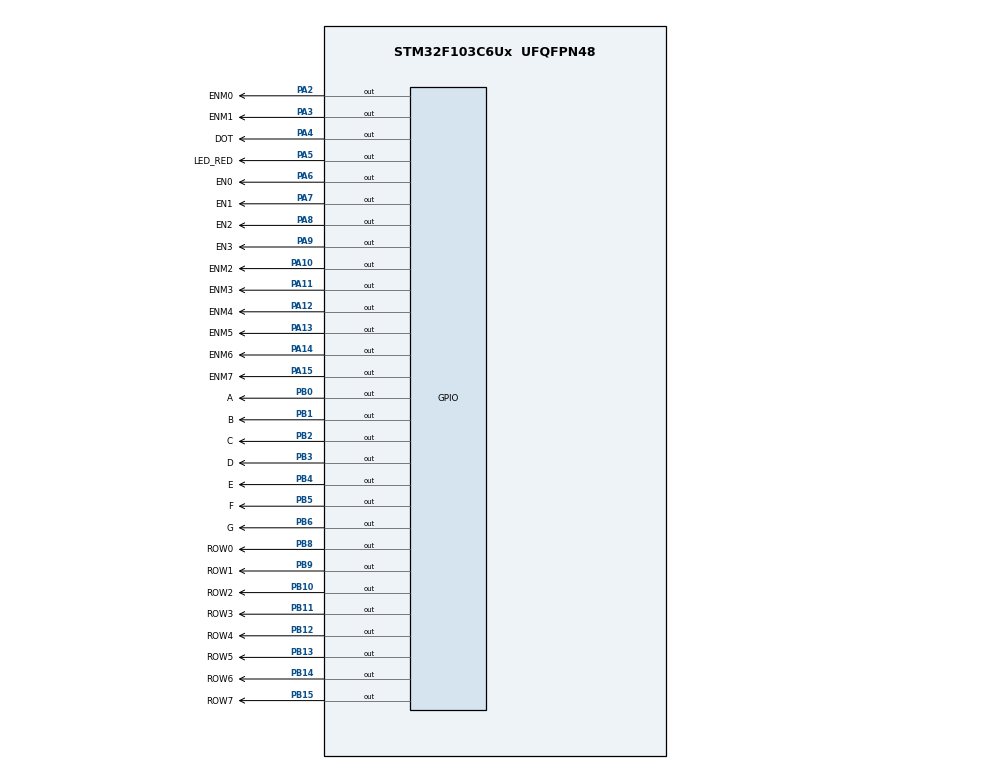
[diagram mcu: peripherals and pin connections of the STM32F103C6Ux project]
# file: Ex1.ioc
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Mcu.Family=STM32F1
Mcu.Name=STM32F103C6Ux
Mcu.Package=UFQFPN48
NVIC.PriorityGroup=NVIC_PRIORITYGROUP_4
NVIC.TIM2_IRQn=true\:0\:0\:false\:false\:true\:true\:true
PA10.GPIO_Label=ENM2
PA10.Signal=GPIO_Output
PA11.GPIO_Label=ENM3
PA11.Signal=GPIO_Output
PA12.GPIO_Label=ENM4
PA12.Signal=GPIO_Output
PA13.GPIO_Label=ENM5
PA13.Signal=GPIO_Output
PA14.GPIO_Label=ENM6
PA14.Signal=GPIO_Output
PA15.GPIO_Label=ENM7
PA15.Signal=GPIO_Output
PA2.GPIO_Label=ENM0
PA2.Signal=GPIO_Output
PA3.GPIO_Label=ENM1
PA3.Signal=GPIO_Output
PA4.GPIO_Label=DOT
PA4.Signal=GPIO_Output
PA5.GPIO_Label=LED_RED
PA5.Signal=GPIO_Output
PA6.GPIO_Label=EN0
PA6.Signal=GPIO_Output
PA7.GPIO_Label=EN1
PA7.Signal=GPIO_Output
PA8.GPIO_Label=EN2
PA8.Signal=GPIO_Output
PA9.GPIO_Label=EN3
PA9.Signal=GPIO_Output
PB0.GPIO_Label=A
PB0.Signal=GPIO_Output
PB1.GPIO_Label=B
PB1.Signal=GPIO_Output
PB10.GPIO_Label=ROW2
PB10.Signal=GPIO_Output
PB11.GPIO_Label=ROW3
PB11.Signal=GPIO_Output
PB12.GPIO_Label=ROW4
PB12.Signal=GPIO_Output
PB13.GPIO_Label=ROW5
PB13.Signal=GPIO_Output
PB14.GPIO_Label=ROW6
PB14.Signal=GPIO_Output
PB15.GPIO_Label=ROW7
PB15.Signal=GPIO_Output
PB2.GPIO_Label=C
PB2.Signal=GPIO_Output
PB3.GPIO_Label=D
PB3.Signal=GPIO_Output
PB4.GPIO_Label=E
PB4.Signal=GPIO_Output
PB5.GPIO_Label=F
PB5.Signal=GPIO_Output
PB6.GPIO_Label=G
PB6.Signal=GPIO_Output
PB8.GPIO_Label=ROW0
PB8.Signal=GPIO_Output
PB9.GPIO_Label=ROW1
PB9.Signal=GPIO_Output
ProjectManager.HeapSize=0x200
ProjectManager.StackSize=0x400
ProjectManager.TargetToolchain=STM32CubeIDE
RCC.APB1Freq_Value=8000000
RCC.APB2Freq_Value=8000000
TIM2.Period=10
TIM2.Prescaler=7999
VP_SYS_VS_ND.Mode=No_Debug
VP_TIM2_VS_ClockSourceINT.Mode=Internal
board=custom

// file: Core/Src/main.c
/* USER CODE BEGIN Header */
/**
  ******************************************************************************
  * @file           : main.c
  * @brief          : Main program body
  ******************************************************************************
  * @attention
  *
  * <h2><center>&copy; Copyright (c) 2022 STMicroelectronics.
  * All rights reserved.</center></h2>
  *
  * This software component is licensed by ST under BSD 3-Clause license,
  * the "License"; You may not use this file except in compliance with the
  * License. You may obtain a copy of the License at:
  *                        opensource.org/licenses/BSD-3-Clause
  *
  ******************************************************************************
  */
/* USER CODE END Header */
#include "main.h"

/* USER CODE BEGIN Includes */
#include "software_timer.h"
/* USER CODE END Includes */

TIM_HandleTypeDef htim2;

void SystemClock_Config(void);
static void MX_GPIO_Init(void);
static void MX_TIM2_Init(void);

/* USER CODE BEGIN 0 */
const int MAX_LED = 4;
int index_led = 0;
int led_buffer[4] = {1 ,2, 3, 4};
int hour = 15, minute = 8, second = 50;
const int MAX_LED_MATRIX = 8;
int index_led_matrix = 0;
uint8_t matrix_buffer[8] = {0x01, 0x02, 0x03, 0x04, 0x05, 0x06, 0x07, 0x08};
/* Function get buffer to GPIO */
void getBuffer(uint8_t config)
{
	HAL_GPIO_WritePin(GPIOB, ROW0_Pin, !(config&1));
	config = config >> 1;
	HAL_GPIO_WritePin(GPIOB, ROW1_Pin, !(config&1));
	config = config >> 1;
	HAL_GPIO_WritePin(GPIOB, ROW2_Pin, !(config&1));
	config = config >> 1;
	HAL_GPIO_WritePin(GPIOB, ROW3_Pin, !(config&1));
	config = config >> 1;
	HAL_GPIO_WritePin(GPIOB, ROW4_Pin, !(config&1));
	config = config >> 1;
	HAL_GPIO_WritePin(GPIOB, ROW5_Pin, !(config&1));
	config = config >> 1;
	HAL_GPIO_WritePin(GPIOB, ROW6_Pin, !(config&1));
	config = config >> 1;
	HAL_GPIO_WritePin(GPIOB, ROW7_Pin, !(config&1));
}

void updateLEDMatrix(int index)
{
  switch(index)
  {
  case 0:
	getBuffer(matrix_buffer[0]);
	break;
  case 1:
  getBuffer(matrix_buffer[1]);
	break;
  case 2:
	  getBuffer(matrix_buffer[2]);
	break;
  case 3:
	  getBuffer(matrix_buffer[3]);
	break;
  case 4:
	  getBuffer(matrix_buffer[4]);
	break;
  case 5:
	  getBuffer(matrix_buffer[5]);
	break;
  case 6:
	  getBuffer(matrix_buffer[6]);
	break;
  case 7:
	  getBuffer(matrix_buffer[7]);
	break;
  default:
	break;
  }
}
void clearENM()
{
  HAL_GPIO_WritePin(GPIOA, ENM0_Pin | ENM1_Pin | ENM2_Pin |
						   ENM3_Pin | ENM4_Pin | ENM5_Pin |
						   ENM6_Pin | ENM7_Pin, SET);
}
/* Fuction for open ENM GPIO */
void openENM(int index){
	switch(index) {
		case 0:
		  HAL_GPIO_WritePin(GPIOA, ENM0_Pin, RESET);
		  break;
		case 1:
		  HAL_GPIO_WritePin(GPIOA, ENM1_Pin, RESET);
		  break;
		case 2:
		  HAL_GPIO_WritePin(GPIOA, ENM2_Pin, RESET);
		  break;
		case 3:
		  HAL_GPIO_WritePin(GPIOA, ENM3_Pin, RESET);
		  break;
		case 4:
		  HAL_GPIO_WritePin(GPIOA, ENM4_Pin, RESET);
		  break;
		case 5:
		  HAL_GPIO_WritePin(GPIOA, ENM5_Pin, RESET);
		  break;
		case 6:
		  HAL_GPIO_WritePin(GPIOA, ENM6_Pin, RESET);
		  break;
		case 7:
		  HAL_GPIO_WritePin(GPIOA, ENM7_Pin, RESET);
		  break;
		default:
		  break;
	}
}

void display7SEG(int num){
	  HAL_GPIO_WritePin(GPIOB, A_Pin|B_Pin|C_Pin|D_Pin|E_Pin|F_Pin|G_Pin, SET);

	  switch (num) {
		case 0:
			HAL_GPIO_WritePin(GPIOB, A_Pin|B_Pin|C_Pin|D_Pin|E_Pin|F_Pin, RESET);
			break;
		case 1:
			HAL_GPIO_WritePin(GPIOB, B_Pin|C_Pin, RESET);
			break;
		case 2:
			HAL_GPIO_WritePin(GPIOB, A_Pin|B_Pin|D_Pin|E_Pin|G_Pin, RESET);
			break;
		case 3:
			HAL_GPIO_WritePin(GPIOB, A_Pin|B_Pin|C_Pin|D_Pin|G_Pin, RESET);
			break;
		case 4:
			HAL_GPIO_WritePin(GPIOB, B_Pin|C_Pin|F_Pin|G_Pin, RESET);
			break;
		case 5:
			HAL_GPIO_WritePin(GPIOB, A_Pin|C_Pin|D_Pin|F_Pin|G_Pin, RESET);
			break;
		case 6:
			HAL_GPIO_WritePin(GPIOB, A_Pin|C_Pin|D_Pin|E_Pin|F_Pin|G_Pin, RESET);
			break;
		case 7:
			HAL_GPIO_WritePin(GPIOB, A_Pin|B_Pin|C_Pin, RESET);
			break;
		case 8:
			HAL_GPIO_WritePin(GPIOB, A_Pin|B_Pin|C_Pin|D_Pin|E_Pin|F_Pin|G_Pin, RESET);
			break;
		case 9:
			HAL_GPIO_WritePin(GPIOB, A_Pin|B_Pin|C_Pin|D_Pin|F_Pin|G_Pin, RESET);
			break;
	 }
 }

void update7SEG(int index){
	switch(index){
	case 0:
		//Display the first 7SEG with led_buffer[0]
		HAL_GPIO_WritePin(EN0_GPIO_Port, EN0_Pin, RESET);
		HAL_GPIO_WritePin(EN1_GPIO_Port, EN1_Pin, SET);
		HAL_GPIO_WritePin(EN2_GPIO_Port, EN2_Pin, SET);
		HAL_GPIO_WritePin(EN3_GPIO_Port, EN3_Pin, SET);
		display7SEG(led_buffer[0]);
		break;
	case 1:
		//Display the second 7SEG with led_buffer[1]
		HAL_GPIO_WritePin(EN0_GPIO_Port, EN0_Pin, SET);
		HAL_GPIO_WritePin(EN1_GPIO_Port, EN1_Pin, RESET);
		HAL_GPIO_WritePin(EN2_GPIO_Port, EN2_Pin, SET);
		HAL_GPIO_WritePin(EN3_GPIO_Port, EN3_Pin, SET);
		display7SEG(led_buffer[1]);
		break;
	case 2:
		//Display the third 7SEG with led_buffer[2]
		HAL_GPIO_WritePin(EN0_GPIO_Port, EN0_Pin, SET);
		HAL_GPIO_WritePin(EN1_GPIO_Port, EN1_Pin, SET);
		HAL_GPIO_WritePin(EN2_GPIO_Port, EN2_Pin, RESET);
		HAL_GPIO_WritePin(EN3_GPIO_Port, EN3_Pin, SET);
		display7SEG(led_buffer[2]);
		break;
	case 3:
		//Display the fourth 7SEG with led_buffer[3]
		HAL_GPIO_WritePin(EN0_GPIO_Port, EN0_Pin, SET);
		HAL_GPIO_WritePin(EN1_GPIO_Port, EN1_Pin, SET);
		HAL_GPIO_WritePin(EN2_GPIO_Port, EN2_Pin, SET);
		HAL_GPIO_WritePin(EN3_GPIO_Port, EN3_Pin, RESET);
		display7SEG(led_buffer[3]);
		break;
	default:
		break;
	}
}

void updateClockBuffer(){
	led_buffer[0] = hour/10;
	led_buffer[1] = hour%10;
	led_buffer[2] = minute/10;
	led_buffer[3] = minute%10;
}

/* USER CODE END 0 */

int main(void)
{

  /* MCU Configuration--------------------------------------------------------*/

  /* Reset of all peripherals, Initializes the Flash interface and the Systick. */
  HAL_Init();

  /* Configure the system clock */
  SystemClock_Config();

  /* Initialize all configured peripherals */
  MX_GPIO_Init();
  MX_TIM2_Init();
  /* USER CODE BEGIN 2 */
  HAL_TIM_Base_Start_IT(&htim2);
  /* USER CODE END 2 */

  /* Infinite loop */
  /* USER CODE BEGIN WHILE */
setTimer1(1000);
setTimer2(1000);
setTimer3(250);
setTimer4(10);
  while (1)
  {
	  if(timer1_flag == 1){
		  second++;
		  if(second >= 60){
			  minute++;
		  }
		  if(minute >= 60){
			  second = 0;
			  minute = 0;
			  hour++;
		  }
		  if(hour >= 24){
			  hour = 0;
		  }
		  setTimer1(1000);
	  }
	  updateClockBuffer();
	  if(timer2_flag == 1){
		  HAL_GPIO_TogglePin(DOT_GPIO_Port, DOT_Pin);
		  setTimer2(1000);
	  }
	  if(timer3_flag == 1){
		  update7SEG(index_led++);
		  if(index_led > MAX_LED-1){
			  index_led = 0;
		  }
		  setTimer3(250);
	  }

	  //Quet cot led_matrix
		  if (timer4_flag == 1){
			clearENM();
			openENM(index_led_matrix);
			updateLEDMatrix(index_led_matrix);
			index_led_matrix++;
			if(index_led_matrix > 7){
				index_led_matrix = 0;
			}
			 setTimer4(10);
		 }
    /* USER CODE END WHILE */

  }
}

void SystemClock_Config(void)
{
  RCC_OscInitTypeDef RCC_OscInitStruct = {0};
  RCC_ClkInitTypeDef RCC_ClkInitStruct = {0};

  /** Initializes the RCC Oscillators according to the specified parameters
  * in the RCC_OscInitTypeDef structure.
  */
  RCC_OscInitStruct.OscillatorType = RCC_OSCILLATORTYPE_HSI;
  RCC_OscInitStruct.HSIState = RCC_HSI_ON;
  RCC_OscInitStruct.HSICalibrationValue = RCC_HSICALIBRATION_DEFAULT;
  RCC_OscInitStruct.PLL.PLLState = RCC_PLL_NONE;
  if (HAL_RCC_OscConfig(&RCC_OscInitStruct) != HAL_OK)
  {
    Error_Handler();
  }
  /** Initializes the CPU, AHB and APB buses clocks
  */
  RCC_ClkInitStruct.ClockType = RCC_CLOCKTYPE_HCLK|RCC_CLOCKTYPE_SYSCLK
                              |RCC_CLOCKTYPE_PCLK1|RCC_CLOCKTYPE_PCLK2;
  RCC_ClkInitStruct.SYSCLKSource = RCC_SYSCLKSOURCE_HSI;
  RCC_ClkInitStruct.AHBCLKDivider = RCC_SYSCLK_DIV1;
  RCC_ClkInitStruct.APB1CLKDivider = RCC_HCLK_DIV1;
  RCC_ClkInitStruct.APB2CLKDivider = RCC_HCLK_DIV1;

  if (HAL_RCC_ClockConfig(&RCC_ClkInitStruct, FLASH_LATENCY_0) != HAL_OK)
  {
    Error_Handler();
  }
}

static void MX_TIM2_Init(void)
{

  TIM_ClockConfigTypeDef sClockSourceConfig = {0};
  TIM_MasterConfigTypeDef sMasterConfig = {0};

  htim2.Instance = TIM2;
  htim2.Init.Prescaler = 7999;
  htim2.Init.CounterMode = TIM_COUNTERMODE_UP;
  htim2.Init.Period = 10;
  htim2.Init.ClockDivision = TIM_CLOCKDIVISION_DIV1;
  htim2.Init.AutoReloadPreload = TIM_AUTORELOAD_PRELOAD_DISABLE;
  if (HAL_TIM_Base_Init(&htim2) != HAL_OK)
  {
    Error_Handler();
  }
  sClockSourceConfig.ClockSource = TIM_CLOCKSOURCE_INTERNAL;
  if (HAL_TIM_ConfigClockSource(&htim2, &sClockSourceConfig) != HAL_OK)
  {
    Error_Handler();
  }
  sMasterConfig.MasterOutputTrigger = TIM_TRGO_RESET;
  sMasterConfig.MasterSlaveMode = TIM_MASTERSLAVEMODE_DISABLE;
  if (HAL_TIMEx_MasterConfigSynchronization(&htim2, &sMasterConfig) != HAL_OK)
  {
    Error_Handler();
  }

}

static void MX_GPIO_Init(void)
{
  GPIO_InitTypeDef GPIO_InitStruct = {0};

  /* GPIO Ports Clock Enable */
  __HAL_RCC_GPIOA_CLK_ENABLE();
  __HAL_RCC_GPIOB_CLK_ENABLE();

  /*Configure GPIO pin Output Level */
  HAL_GPIO_WritePin(GPIOA, ENM0_Pin|ENM1_Pin|DOT_Pin|LED_RED_Pin
                          |EN0_Pin|EN1_Pin|EN2_Pin|EN3_Pin
                          |ENM2_Pin|ENM3_Pin|ENM4_Pin|ENM5_Pin
                          |ENM6_Pin|ENM7_Pin, GPIO_PIN_RESET);

  /*Configure GPIO pin Output Level */
  HAL_GPIO_WritePin(GPIOB, A_Pin|B_Pin|C_Pin|ROW2_Pin
                          |ROW3_Pin|ROW4_Pin|ROW5_Pin|ROW6_Pin
                          |ROW7_Pin|D_Pin|E_Pin|F_Pin
                          |G_Pin|ROW0_Pin|ROW1_Pin, GPIO_PIN_RESET);

  /*Configure GPIO pins : ENM0_Pin ENM1_Pin DOT_Pin LED_RED_Pin
                           EN0_Pin EN1_Pin EN2_Pin EN3_Pin
                           ENM2_Pin ENM3_Pin ENM4_Pin ENM5_Pin
                           ENM6_Pin ENM7_Pin */
  GPIO_InitStruct.Pin = ENM0_Pin|ENM1_Pin|DOT_Pin|LED_RED_Pin
                          |EN0_Pin|EN1_Pin|EN2_Pin|EN3_Pin
                          |ENM2_Pin|ENM3_Pin|ENM4_Pin|ENM5_Pin
                          |ENM6_Pin|ENM7_Pin;
  GPIO_InitStruct.Mode = GPIO_MODE_OUTPUT_PP;
  GPIO_InitStruct.Pull = GPIO_NOPULL;
  GPIO_InitStruct.Speed = GPIO_SPEED_FREQ_LOW;
  HAL_GPIO_Init(GPIOA, &GPIO_InitStruct);

  /*Configure GPIO pins : A_Pin B_Pin C_Pin ROW2_Pin
                           ROW3_Pin ROW4_Pin ROW5_Pin ROW6_Pin
                           ROW7_Pin D_Pin E_Pin F_Pin
                           G_Pin ROW0_Pin ROW1_Pin */
  GPIO_InitStruct.Pin = A_Pin|B_Pin|C_Pin|ROW2_Pin
                          |ROW3_Pin|ROW4_Pin|ROW5_Pin|ROW6_Pin
                          |ROW7_Pin|D_Pin|E_Pin|F_Pin
                          |G_Pin|ROW0_Pin|ROW1_Pin;
  GPIO_InitStruct.Mode = GPIO_MODE_OUTPUT_PP;
  GPIO_InitStruct.Pull = GPIO_NOPULL;
  GPIO_InitStruct.Speed = GPIO_SPEED_FREQ_LOW;
  HAL_GPIO_Init(GPIOB, &GPIO_InitStruct);

}

/* USER CODE BEGIN 4 */
void HAL_TIM_PeriodElapsedCallback(TIM_HandleTypeDef *htim)
{
	timerRun();
}
/* USER CODE END 4 */

void Error_Handler(void)
{
  __disable_irq();
  while (1)
  {
  }
}

/************************ (C) COPYRIGHT STMicroelectronics *****END OF FILE****/
